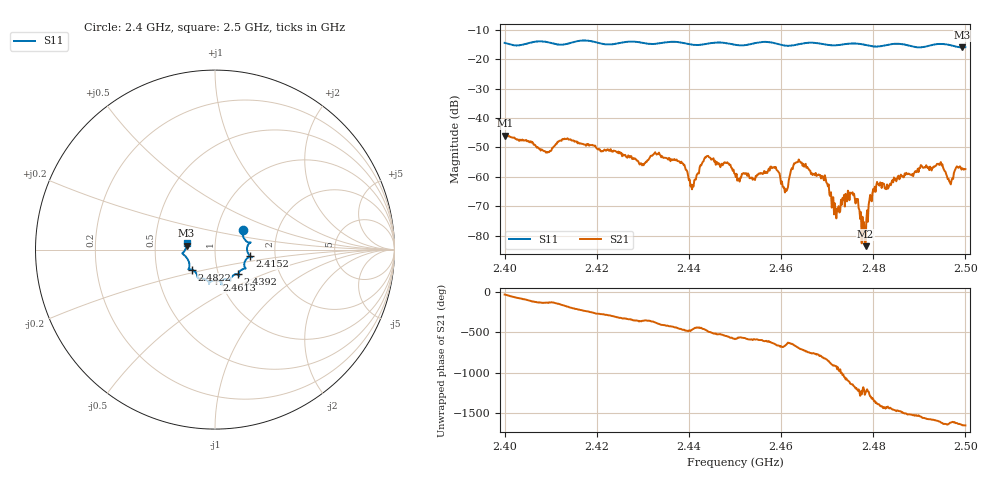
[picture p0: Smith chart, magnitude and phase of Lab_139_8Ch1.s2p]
# Hz S RI R 50
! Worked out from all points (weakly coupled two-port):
!   601 points, 2.4 GHz to 2.5 GHz, reference 50 ohm
!   highest |S21| = -45.95 dB at 2.4002 GHz (marker M1); lowest = -83.6 dB at 2.4783 GHz (marker M2)
!   lowest |S11| = -15.9 dB at 2.4993 GHz (marker M3), VSWR 1.38, Z = 36.3 + j1.65 ohm
!   |S11| at or under -10 dB: start of sweep to end of sweep
!   S12 and S22 are empty: the file has one direction only
!   S11 on the Smith chart (normalised r, x): 2.4 GHz: 1.33, +0.31; 2.4152 GHz: 1.48, -0.11; 2.4392 GHz: 1.24, -0.35; 2.4613 GHz: 0.96, -0.34; 2.4822 GHz: 0.75, -0.17; 2.5 GHz: 0.73, +0.05
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2.4e9  0.1549 0.1119  0.0043 -0.00241  0 0  0 0
2.400167e9  0.1544 0.1099  0.00429 -0.00265  0 0  0 0
2.415167e9  0.1956 -0.0368  -0.00364 0.00159  0 0  0 0
2.416667e9  0.205 -0.0428  -0.00272 0.00247  0 0  0 0
2.433333e9  0.1321 -0.1318  0.00207 -0.00128  0 0  0 0
2.439167e9  0.1271 -0.1378  -0.000657 -0.00128  0 0  0 0
2.4405e9  0.1146 -0.1372  -0.000286 -0.00068  0 0  0 0
2.444e9  0.0862 -0.1639  -0.00113 -0.00196  0 0  0 0
2.45e9  0.0684 -0.164  -0.000818 0.000771  0 0  0 0
2.458333e9  0.0373 -0.1875  0.00017 0.00143  0 0  0 0
2.461333e9  0.00743 -0.1702  7.98e-05 0.000608  0 0  0 0
2.463333e9  -0.0205 -0.1768  0.0013 0.00121  0 0  0 0
2.466667e9  -0.0331 -0.1897  0.000855 -0.00078  0 0  0 0
2.4695e9  -0.0386 -0.176  -0.000252 -0.00103  0 0  0 0
2.472333e9  -0.0691 -0.1608  -0.00022 0.000141  0 0  0 0
2.4755e9  -0.0928 -0.162  0.000235 -0.000494  0 0  0 0
2.478333e9  -0.0981 -0.146  -6.5e-05 -1.08e-05  0 0  0 0
2.479833e9  -0.1058 -0.1292  -0.000298 0.000439  0 0  0 0
2.482167e9  -0.1286 -0.1121  0.000761 -1.84e-05  0 0  0 0
2.483333e9  -0.1398 -0.1105  0.000659 1.19e-05  0 0  0 0
2.499333e9  -0.1585 0.0221  -0.00115 0.000797  0 0  0 0
2.5e9  -0.1578 0.034  -0.00109 0.000799  0 0  0 0
